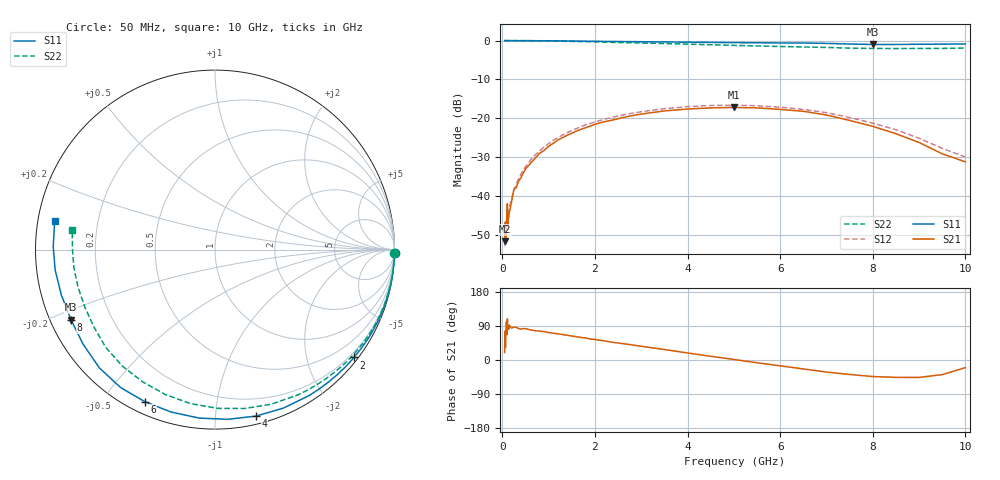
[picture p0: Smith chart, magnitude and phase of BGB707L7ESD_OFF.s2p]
!  Infineon Technologies AG
!  BGB707L7ESD
!  VCE = 1.0V, IC = 1.0mA
!  DATUM: 02.07.2009 17:27:06
# GHz  S  MA  R  50
!f  S11  S21  S12  S22
!GHz  Mag  Ang  Mag  Ang  Mag  Ang  Mag  Ang
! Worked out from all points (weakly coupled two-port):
!   52 points, 50 MHz to 10 GHz, reference 50 ohm
!   highest |S21| = -17.19 dB at 5 GHz (marker M1); lowest = -51.7 dB at 50 MHz (marker M2)
!   lowest |S11| = -1.0 dB at 8 GHz (marker M3), VSWR 17.59, Z = 2.99 - j11.5 ohm
!   |S11| at or under -10 dB: nowhere
!   |S22| runs from -2.0 to 0.0 dB; largest |S21 - S12| = 0.011
!   S11 on the Smith chart (normalised r, x): 50 MHz: open; 2 GHz: 0.09, -2.92; 4 GHz: 0.06, -1.27; 6 GHz: 0.05, -0.64; 8 GHz: 0.06, -0.23; 10 GHz: 0.05, +0.09
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0.05  1.001 -0.9  0.002614 19.9  0.002272 92.1  0.9995 -1.0
0.06  1.002 -1.1  0.00454 76.3  0.003065 90.3  0.9997 -1.2
0.07  0.9981 -1.5  0.004649 33.3  0.00305 90.1  0.9998 -1.4
0.08  1.002 -1.3  0.002963 77.5  0.003851 87.1  0.9998 -1.6
0.09  1.005 -1.7  0.00376 100.7  0.004255 89.2  0.9997 -1.8
0.11  1.001 -2.0  0.007971 108.6  0.005102 87.4  0.9991 -2.2
0.12  1.001 -2.3  0.004134 81.9  0.005538 86.4  0.9993 -2.4
0.15  1.001 -2.9  0.006071 92.0  0.007111 87.4  0.9996 -3.1
0.25  0.9991 -4.6  0.01222 86.6  0.01183 85.7  0.999 -5.1
0.5  0.9987 -9.4  0.02222 82.8  0.02377 81.4  0.9971 -10.1
1  0.9946 -18.8  0.04372 72.5  0.04742 71.9  0.9898 -20.3
1.8  0.9837 -34.0  0.07586 58.0  0.08237 56.6  0.9687 -36.6
2  0.9803 -37.8  0.08397 54.1  0.09003 52.8  0.9627 -40.6
3.5  0.9618 -66.7  0.1248 27.7  0.1334 25.7  0.9168 -70.1
4  0.9553 -76.2  0.1319 18.6  0.1416 16.9  0.9006 -79.5
5  0.9428 -95.4  0.1382 1.4  0.148 -0.6  0.8687 -99.1
5.5  0.9374 -105.1  0.1365 -7.2  0.1454 -9.1  0.8535 -108.9
6  0.9334 -114.6  0.1305 -15.4  0.1392 -17.3  0.8397 -118.7
7  0.9215 -134.4  0.1106 -31.9  0.1184 -33.5  0.8168 -138.2
8  0.8924 -154.0  0.07891 -43.7  0.08676 -45.2  0.7928 -156.2
8.5  0.8929 -163.7  0.06358 -45.8  0.07154 -48.7  0.7913 -164.7
10  0.9071 170.0  0.02761 -20.1  0.03178 -31.1  0.8031 172.0
